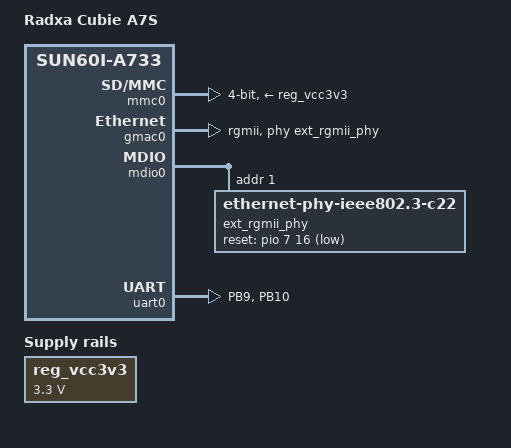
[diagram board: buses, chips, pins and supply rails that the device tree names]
// SPDX-License-Identifier: (GPL-2.0-only OR MIT)

/dts-v1/;

#include "sun60i-a733.dtsi"

#include <dt-bindings/gpio/gpio.h>

/ {
	model = "Radxa Cubie A7S";
	compatible = "radxa,cubie-a7s", "allwinner,sun60i-a733";

	aliases {
		serial0 = &uart0;
		mmc0 = &mmc0;
	};

	chosen {
		stdout-path = "serial0:115200n8";
	};

	reg_vcc3v3: vcc3v3 {
		compatible = "regulator-fixed";
		regulator-name = "vcc-3v3";
		regulator-min-microvolt = <3300000>;
		regulator-max-microvolt = <3300000>;
		regulator-always-on;
	};
};

&mmc0 {
	vmmc-supply = <&reg_vcc3v3>;
	bus-width = <4>;
	no-mmc;
	no-sdio;
	status = "okay";
};

&gmac0 {
	phy-handle = <&ext_rgmii_phy>;
	/*
	 * Vendor uses MAC-side raw delay fields. Defer upstream ps delay
	 * properties until link tests prove the correct conversion.
	 */
	phy-mode = "rgmii";
	status = "okay";
};

&mdio0 {
	ext_rgmii_phy: ethernet-phy@1 {
		compatible = "ethernet-phy-ieee802.3-c22";
		reg = <1>;
		max-speed = <1000>;
		reset-gpios = <&pio 7 16 GPIO_ACTIVE_LOW>; /* PH16 */
		reset-assert-us = <10000>;
		reset-deassert-us = <150000>;
	};
};

&pio {
	uart0_pb9_pb10_pins: uart0-pb9-pb10-pins {
		pins = "PB9", "PB10";
		allwinner,pinmux = <2>;
		function = "uart0";
	};
};

&uart0 {
	pinctrl-names = "default";
	pinctrl-0 = <&uart0_pb9_pb10_pins>;
	status = "okay";
};
